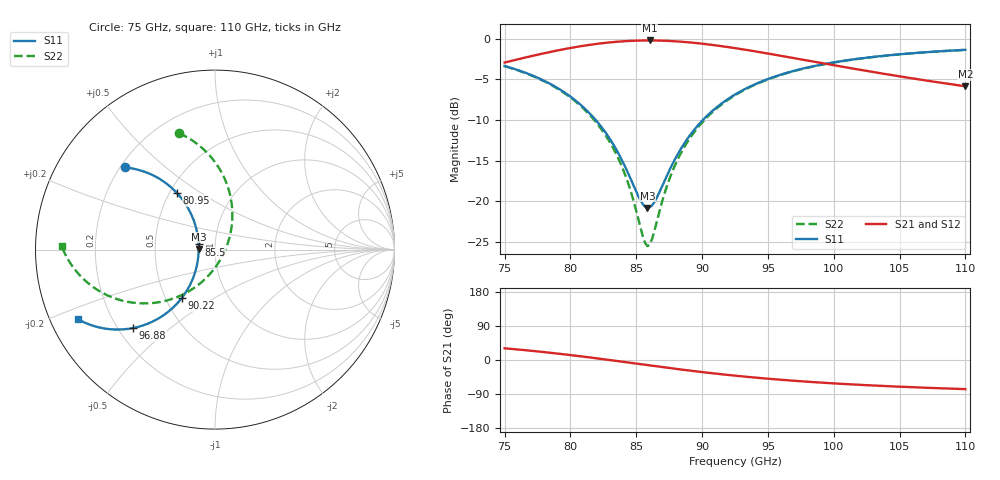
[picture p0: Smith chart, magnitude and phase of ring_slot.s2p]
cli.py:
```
import argparse
from rich.console import Console
from prompt_toolkit import prompt
from prompt_toolkit.completion import WordCompleter
from skrf.io.touchstone import Touchstone

console = Console()

def command1(args):
    console.print(f"Running command 1 with arguments {args}")

def command2(args):
    console.print(f"Running command 2 with arguments {args}")

def main():
    parser = argparse.ArgumentParser(description='My CLI Tool')
    subparsers = parser.add_subparsers()

    # Command 1
    parser_command1 = subparsers.add_parser('command1', help='Command 1 help')
    parser_command1.add_argument('arg1', metavar='arg1', type=str, help='Command 1 argument 1')
    parser_command1.add_argument('arg2', metavar='arg2', type=int, help='Command 1 argument 2')
    parser_command1.set_defaults(func=command1)

    # Command 2
    parser_command2 = subparsers.add_parser('command2', help='Command 2 help')
    parser_command2.add_argument('arg1', metavar='arg1', type=float, help='Command 2 argument 1')
    parser_command2.add_argument('--arg2', type=bool, help='Command 2 argument 2', default=False)
    parser_command2.set_defaults(func=command2)

    args = parser.parse_args()

    # Check if any arguments were passed
    if not vars(args):
        # Create menu items
        menu_items = {
            '1': 'Run Command 1',
            '2': 'Run Command 2',
            'q': 'Quit',
        }

        # Create completer for menu items
        completer = WordCompleter(list(menu_items.keys()))

        while True:
            # Print menu
            console.print("[bold]Welcome to My CLI Tool![/bold]\n")
            for key, value in menu_items.items():
                console.print(f"  [bold]{key}[/bold]. {value}")

            # Prompt user for input
            user_input = prompt("Please enter your choice: ", completer=completer)

            # Execute user's choice
            if user_input == '1':
                command1(['arg1_value', 42])
            elif user_input == '2':
                command2([3.14, True])
            elif user_input == 'q':
                console.print("Goodbye!")
                break

            console.print("\n")

        return

    args.func(args)

if __name__ == '__main__':
    file = Touchstone('./ring_slot.s2p')
    print(file)
```
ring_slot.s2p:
!Created with skrf (http://scikit-rf.org).
# GHz S RI R 50.0
!freq ReS11 ImS11 ReS21 ImS21 ReS12 ImS12 ReS22 ImS22
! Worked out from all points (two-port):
!   201 points, 75 GHz to 110 GHz, reference 50 ohm
!   highest |S21| = -0.20 dB at 86.03 GHz (marker M1); lowest = -5.8 dB at 110 GHz (marker M2)
!   |S21| within 3 dB of the highest: start of sweep to 99.82 GHz
!   lowest |S11| = -20.8 dB at 85.85 GHz (marker M3), VSWR 1.20, Z = 41.7 + j0.293 ohm
!   |S11| at or under -10 dB: 81.92 GHz to 90.06 GHz (8.137 GHz wide, 9.46 % of centre)
!   |S22| runs from -25.6 to -1.4 dB; largest |S21 - S12| = 0
!   S11 on the Smith chart (normalised r, x): 75 GHz: 0.22, +0.37; 80.95 GHz: 0.54, +0.40; 85.5 GHz: 0.83, +0.05; 90.22 GHz: 0.61, -0.36; 96.88 GHz: 0.26, -0.38; 110 GHz: 0.08, -0.24
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75  -0.5037 0.4578  0.6135 0.3668  0.6135 0.3668  -0.1996 0.6483
80.95  -0.2128 0.316  0.8943 0.142  0.8943 0.142  0.0646 0.3689
83.575  -0.1186 0.1632  0.9594 -0.0473  0.9594 -0.0473  0.096 0.1616
85.5  -0.0913 0.0285  0.9562 -0.2008  0.9562 -0.2008  0.0603 0.00578
85.85  -0.0908 0.00348  0.9506 -0.2282  0.9506 -0.2282  0.0485 -0.0208
86.025  -0.0911 -0.00899  0.9473 -0.2418  0.9473 -0.2418  0.042 -0.0338
87.95  -0.1155 -0.1405  0.8886 -0.3794  0.8886 -0.3794  -0.0503 -0.159
90.225  -0.1848 -0.2692  0.7815 -0.5032  0.7815 -0.5032  -0.1909 -0.2557
92.5  -0.2772 -0.359  0.6586 -0.5793  0.6586 -0.5793  -0.3371 -0.2965
96.875  -0.4565 -0.4371  0.443 -0.6219  0.443 -0.6219  -0.5702 -0.267
110  -0.7631 -0.3882  0.1161 -0.4967  0.1161 -0.4967  -0.8552 0.021
